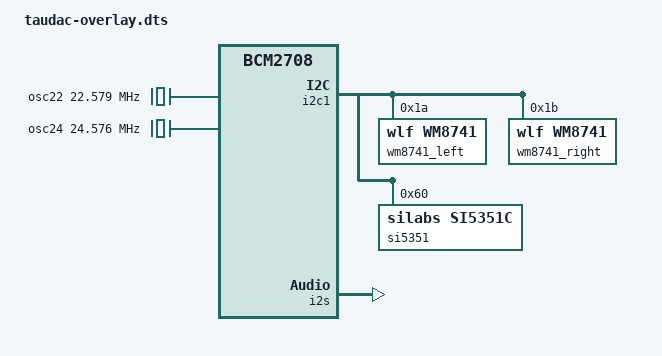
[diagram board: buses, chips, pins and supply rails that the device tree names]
// Definitions for TauDAC
/dts-v1/;
/plugin/;

/ {
	compatible = "brcm,bcm2708";

	fragment@0 {
		target = <&gpio>;
		__overlay__ {

			mclk_pins: mclk_pins {
				brcm,pins = <22 27>;
				brcm,function = <1>;
				brcm,pull = <0>;
			};
		};
	};

	fragment@1 {
		target-path = "/clocks";
		__overlay__ {

			xtal: tau_xtal {
				compatible = "fixed-clock";
				#clock-cells = <0>;
				clock-frequency = <0>; /* not mounted */
			};

			osc22: tau_osc22 {
				compatible = "fixed-clock";
				#clock-cells = <0>;
				clock-frequency = <22579200>;
			};

			osc24: tau_osc24 {
				compatible = "fixed-clock";
				#clock-cells = <0>;
				clock-frequency = <24576000>;
			};

			mux_mclk: tau_mux_mclk {
				compatible = "gpio-mux-clock";
				clocks = <&osc24>, <&osc22>;
				#clock-cells = <0>;
				select-gpios = <&gpio 22 0>;
			};

			gate_mclk: tau_gate_mclk {
				compatible = "gpio-gate-clock";
				clocks = <&mux_mclk>;
				#clock-cells = <0>;
				enable-gpios = <&gpio 27 0>;
			};
		};
	};

	fragment@2 {
		target = <&i2c1>;
		__overlay__ {
			#address-cells = <1>;
			#size-cells = <0>;
			status = "okay";

			wm8741_left: wm8741@1a {
				#sound-dai-cells = <0>;
				compatible = "wlf,wm8741";
				reg = <0x1a>;
				diff-mode = <1>;
				status = "okay";
			};

			wm8741_right: wm8741@1b {
				#sound-dai-cells = <0>;
				compatible = "wlf,wm8741";
				reg = <0x1b>;
				diff-mode = <3>;
				status = "okay";
			};

			si5351: si5351c@60 {
				#address-cells = <1>;
				#size-cells = <0>;
				#clock-cells = <1>;
				compatible = "silabs,si5351c";
				reg = <0x60>;
				clocks = <&xtal>, <&gate_mclk>;
				clock-names = "xtal", "clkin";
				silabs,pll-source = <0 0>, <1 1>;
				status = "okay";

				clkout0 {
					reg = <0>;
					silabs,disable-state = <2>;
					silabs,clock-source = <0>;
					silabs,multisynth-source = <1>;
					silabs,drive-strength = <2>;
				};

				clkout1 {
					reg = <1>;
					silabs,disable-state = <0>;
				};

				clkout2 {
					reg = <2>;
					silabs,disable-state = <0>;
				};

				clkout3 {
					reg = <3>;
					silabs,disable-state = <2>;
					silabs,clock-source = <0>;
					silabs,multisynth-source = <1>;
					silabs,drive-strength = <2>;
				};

				clkout4 {
					reg = <4>;
					silabs,disable-state = <0>;
				};

				clkout5 {
					reg = <5>;
					silabs,disable-state = <2>;
					silabs,clock-source = <0>;
					silabs,multisynth-source = <1>;
					silabs,drive-strength = <2>;
				};

				clkout6 {
					reg = <6>;
					silabs,disable-state = <0>;
				};

				clkout7 {
					reg = <7>;
					silabs,disable-state = <0>;
				};
			};
		};
	};

	fragment@3 {
		target = <&sound>;
		__overlay__ {
			compatible = "taudac,dm101";
			taudac,model = "TauDAC-DM101";
			taudac,i2s-controller = <&i2s>;
			taudac,codecs = <&wm8741_left>, <&wm8741_right>;

			clocks      = <&osc24>,
			<&osc22>,
			<&mux_mclk>,
			<&gate_mclk>,
			<&si5351 5>,
			<&si5351 3>,
			<&si5351 0>;
			clock-names = "mclk-24M",
			"mclk-22M",
			"mux-mclk",
			"gate-mclk",
			"bclk-dacr",
			"bclk-dacl",
			"bclk-cpu";

			status = "okay";
		};
	};

	fragment@4 {
		target = <&i2s>;
		__overlay__ {
			status = "okay";
		};
	};
};
